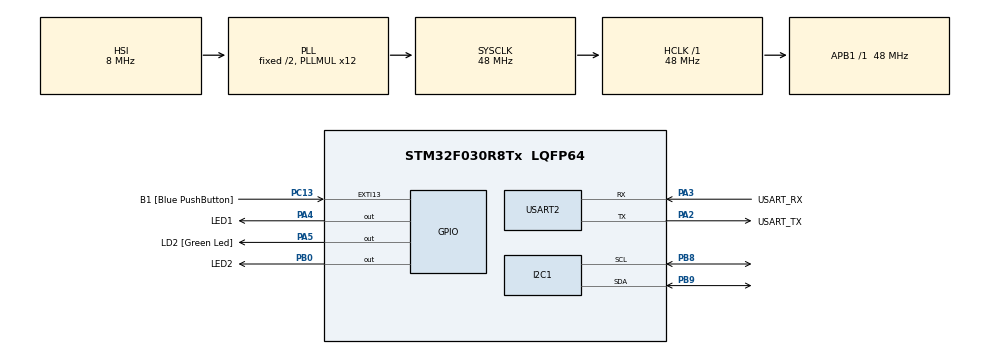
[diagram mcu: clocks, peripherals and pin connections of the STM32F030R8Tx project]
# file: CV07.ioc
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FREERTOS.Queues01=xVisualQueue,16,uint16_t,0,Dynamic,NULL,NULL
FREERTOS.Tasks01=defaultTask,0,128,StartDefaultTask,Default,NULL,Dynamic,NULL,NULL;VisualTask,-3,128,StartVisualTask,Default,NULL,Dynamic,NULL,NULL;AcceleroTask,-3,128,StartAcceleroTask,Default,NULL,Dynamic,NULL,NULL
FREERTOS.configUSE_NEWLIB_REENTRANT=1
I2C1.Timing=0x00201D2B
Mcu.Family=STM32F0
Mcu.Name=STM32F030R8Tx
Mcu.Package=LQFP64
NVIC.TIM14_IRQn=true\:3\:0\:false\:false\:true\:false\:false\:true\:true
NVIC.TimeBase=TIM14_IRQn
NVIC.TimeBaseIP=TIM14
PA13.GPIO_Label=TMS
PA13.Mode=Serial_Wire
PA13.Signal=SYS_SWDIO
PA14.GPIO_Label=TCK
PA14.Mode=Serial_Wire
PA14.Signal=SYS_SWCLK
PA2.GPIO_Label=USART_TX
PA2.GPIO_Mode=GPIO_MODE_AF_PP
PA2.GPIO_PuPd=GPIO_NOPULL
PA2.GPIO_Speed=GPIO_SPEED_FREQ_LOW
PA2.Mode=Asynchronous
PA2.Signal=USART2_TX
PA3.GPIO_Label=USART_RX
PA3.GPIO_Mode=GPIO_MODE_AF_PP
PA3.GPIO_PuPd=GPIO_NOPULL
PA3.GPIO_Speed=GPIO_SPEED_FREQ_LOW
PA3.Mode=Asynchronous
PA3.Signal=USART2_RX
PA4.GPIO_Label=LED1
PA4.Signal=GPIO_Output
PA5.GPIO_Label=LD2 [Green Led]
PA5.GPIO_Mode=GPIO_MODE_OUTPUT_PP
PA5.GPIO_PuPd=GPIO_NOPULL
PA5.GPIO_Speed=GPIO_SPEED_FREQ_LOW
PA5.Signal=GPIO_Output
PB0.GPIO_Label=LED2
PB0.Signal=GPIO_Output
PB8.Mode=I2C
PB8.Signal=I2C1_SCL
PB9.Mode=I2C
PB9.Signal=I2C1_SDA
PC13.GPIO_Label=B1 [Blue PushButton]
PC13.GPIO_ModeDefaultEXTI=GPIO_MODE_IT_FALLING
PC13.Signal=GPXTI13
PC14-OSC32_IN.Mode=LSE-External-Oscillator
PC14-OSC32_IN.Signal=RCC_OSC32_IN
PC15-OSC32_OUT.Mode=LSE-External-Oscillator
PC15-OSC32_OUT.Signal=RCC_OSC32_OUT
PF0-OSC_IN.Mode=HSE-External-Clock-Source
PF0-OSC_IN.Signal=RCC_OSC_IN
PF1-OSC_OUT.Signal=RCC_OSC_OUT
ProjectManager.HeapSize=0x200
ProjectManager.StackSize=0x400
ProjectManager.TargetToolchain=STM32CubeIDE
RCC.AHBFreq_Value=48000000
RCC.APB1Freq_Value=48000000
RCC.APB1TimFreq_Value=48000000
RCC.HCLKFreq_Value=48000000
RCC.PLLMUL=RCC_PLL_MUL12
RCC.SYSCLKFreq_VALUE=48000000
RCC.SYSCLKSource=RCC_SYSCLKSOURCE_PLLCLK
USART2.VirtualMode-Asynchronous=VM_ASYNC
VP_FREERTOS_VS_CMSIS_V1.Mode=CMSIS_V1
VP_SYS_VS_tim14.Mode=TIM14
board=NUCLEO-F030R8

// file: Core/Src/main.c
/* USER CODE BEGIN Header */
/**
 ******************************************************************************
 * @file           : main.c
 * @brief          : Main program body
 ******************************************************************************
 * @attention
 *
 * Copyright (c) 2024 STMicroelectronics.
 * All rights reserved.
 *
 * This software is licensed under terms that can be found in the LICENSE file
 * in the root directory of this software component.
 * If no LICENSE file comes with this software, it is provided AS-IS.
 *
 ******************************************************************************
 */
/* USER CODE END Header */
#include "main.h"
#include "cmsis_os.h"

/* USER CODE BEGIN Includes */
#include "lis2dw12_reg.h"
#include <stdio.h>
#include <string.h>
/* USER CODE END Includes */

I2C_HandleTypeDef hi2c1;

UART_HandleTypeDef huart2;

osThreadId defaultTaskHandle;
osThreadId VisualTaskHandle;
osThreadId AcceleroTaskHandle;
osMessageQId xVisualQueueHandle;

void SystemClock_Config(void);
static void MX_GPIO_Init(void);
static void MX_USART2_UART_Init(void);
static void MX_I2C1_Init(void);
void StartDefaultTask(void const * argument);
void StartVisualTask(void const * argument);
void StartAcceleroTask(void const * argument);

/* USER CODE BEGIN 0 */
static int32_t platform_write(void *handle, uint8_t reg, uint8_t *bufp,
		uint16_t len)
{
	HAL_I2C_Mem_Write(handle, LIS2DW12_I2C_ADD_H, reg, I2C_MEMADD_SIZE_8BIT, bufp, len, 1000);
	return 0;
}
static int32_t platform_read(void *handle, uint8_t reg, uint8_t *bufp, uint16_t len)
{
	HAL_I2C_Mem_Read(handle, LIS2DW12_I2C_ADD_H, reg, I2C_MEMADD_SIZE_8BIT, bufp, len, 1000);
	return 0;
}

static stmdev_ctx_t lis2dw12 = {
		.write_reg = platform_write,
		.read_reg = platform_read,
		.handle = &hi2c1,
};

int _write(int file, char const *buf, int n)
{
	/* stdout redirection to UART2 */
	HAL_UART_Transmit(&huart2, (uint8_t*)(buf), n, HAL_MAX_DELAY);
	return n;
}
/* USER CODE END 0 */

int main(void)
{

	/* MCU Configuration--------------------------------------------------------*/

	/* Reset of all peripherals, Initializes the Flash interface and the Systick. */
	HAL_Init();

	/* Configure the system clock */
	SystemClock_Config();

	/* Initialize all configured peripherals */
	MX_GPIO_Init();
	MX_USART2_UART_Init();
	MX_I2C1_Init();

	/* Create the queue(s) */
	/* definition and creation of xVisualQueue */
	osMessageQDef(xVisualQueue, 16, uint16_t);
	xVisualQueueHandle = osMessageCreate(osMessageQ(xVisualQueue), NULL);

	/* Create the thread(s) */
	/* definition and creation of defaultTask */
	osThreadDef(defaultTask, StartDefaultTask, osPriorityNormal, 0, 128);
	defaultTaskHandle = osThreadCreate(osThread(defaultTask), NULL);

	/* definition and creation of VisualTask */
	osThreadDef(VisualTask, StartVisualTask, osPriorityIdle, 0, 128);
	VisualTaskHandle = osThreadCreate(osThread(VisualTask), NULL);

	/* definition and creation of AcceleroTask */
	osThreadDef(AcceleroTask, StartAcceleroTask, osPriorityIdle, 0, 128);
	AcceleroTaskHandle = osThreadCreate(osThread(AcceleroTask), NULL);

	/* Start scheduler */
	osKernelStart();

	/* We should never get here as control is now taken by the scheduler */

	/* Infinite loop */
	while (1)
	{

	}
}

void SystemClock_Config(void)
{
	RCC_OscInitTypeDef RCC_OscInitStruct = {0};
	RCC_ClkInitTypeDef RCC_ClkInitStruct = {0};
	RCC_PeriphCLKInitTypeDef PeriphClkInit = {0};

	/** Initializes the RCC Oscillators according to the specified parameters
	 * in the RCC_OscInitTypeDef structure.
	 */
	RCC_OscInitStruct.OscillatorType = RCC_OSCILLATORTYPE_HSI;
	RCC_OscInitStruct.HSIState = RCC_HSI_ON;
	RCC_OscInitStruct.HSICalibrationValue = RCC_HSICALIBRATION_DEFAULT;
	RCC_OscInitStruct.PLL.PLLState = RCC_PLL_ON;
	RCC_OscInitStruct.PLL.PLLSource = RCC_PLLSOURCE_HSI;
	RCC_OscInitStruct.PLL.PLLMUL = RCC_PLL_MUL12;
	RCC_OscInitStruct.PLL.PREDIV = RCC_PREDIV_DIV1;
	if (HAL_RCC_OscConfig(&RCC_OscInitStruct) != HAL_OK)
	{
		Error_Handler();
	}

	/** Initializes the CPU, AHB and APB buses clocks
	 */
	RCC_ClkInitStruct.ClockType = RCC_CLOCKTYPE_HCLK|RCC_CLOCKTYPE_SYSCLK
			|RCC_CLOCKTYPE_PCLK1;
	RCC_ClkInitStruct.SYSCLKSource = RCC_SYSCLKSOURCE_PLLCLK;
	RCC_ClkInitStruct.AHBCLKDivider = RCC_SYSCLK_DIV1;
	RCC_ClkInitStruct.APB1CLKDivider = RCC_HCLK_DIV1;

	if (HAL_RCC_ClockConfig(&RCC_ClkInitStruct, FLASH_LATENCY_1) != HAL_OK)
	{
		Error_Handler();
	}
	PeriphClkInit.PeriphClockSelection = RCC_PERIPHCLK_I2C1;
	PeriphClkInit.I2c1ClockSelection = RCC_I2C1CLKSOURCE_HSI;
	if (HAL_RCCEx_PeriphCLKConfig(&PeriphClkInit) != HAL_OK)
	{
		Error_Handler();
	}
}

static void MX_I2C1_Init(void)
{

	hi2c1.Instance = I2C1;
	hi2c1.Init.Timing = 0x00201D2B;
	hi2c1.Init.OwnAddress1 = 0;
	hi2c1.Init.AddressingMode = I2C_ADDRESSINGMODE_7BIT;
	hi2c1.Init.DualAddressMode = I2C_DUALADDRESS_DISABLE;
	hi2c1.Init.OwnAddress2 = 0;
	hi2c1.Init.OwnAddress2Masks = I2C_OA2_NOMASK;
	hi2c1.Init.GeneralCallMode = I2C_GENERALCALL_DISABLE;
	hi2c1.Init.NoStretchMode = I2C_NOSTRETCH_DISABLE;
	if (HAL_I2C_Init(&hi2c1) != HAL_OK)
	{
		Error_Handler();
	}

	/** Configure Analogue filter
	 */
	if (HAL_I2CEx_ConfigAnalogFilter(&hi2c1, I2C_ANALOGFILTER_ENABLE) != HAL_OK)
	{
		Error_Handler();
	}

	/** Configure Digital filter
	 */
	if (HAL_I2CEx_ConfigDigitalFilter(&hi2c1, 0) != HAL_OK)
	{
		Error_Handler();
	}

}

static void MX_USART2_UART_Init(void)
{

	huart2.Instance = USART2;
	huart2.Init.BaudRate = 38400;
	huart2.Init.WordLength = UART_WORDLENGTH_8B;
	huart2.Init.StopBits = UART_STOPBITS_1;
	huart2.Init.Parity = UART_PARITY_NONE;
	huart2.Init.Mode = UART_MODE_TX_RX;
	huart2.Init.HwFlowCtl = UART_HWCONTROL_NONE;
	huart2.Init.OverSampling = UART_OVERSAMPLING_16;
	huart2.Init.OneBitSampling = UART_ONE_BIT_SAMPLE_DISABLE;
	huart2.AdvancedInit.AdvFeatureInit = UART_ADVFEATURE_NO_INIT;
	if (HAL_UART_Init(&huart2) != HAL_OK)
	{
		Error_Handler();
	}

}

static void MX_GPIO_Init(void)
{
	GPIO_InitTypeDef GPIO_InitStruct = {0};

	/* GPIO Ports Clock Enable */
	__HAL_RCC_GPIOC_CLK_ENABLE();
	__HAL_RCC_GPIOF_CLK_ENABLE();
	__HAL_RCC_GPIOA_CLK_ENABLE();
	__HAL_RCC_GPIOB_CLK_ENABLE();

	/*Configure GPIO pin Output Level */
	HAL_GPIO_WritePin(GPIOA, LED1_Pin|LD2_Pin, GPIO_PIN_RESET);

	/*Configure GPIO pin Output Level */
	HAL_GPIO_WritePin(LED2_GPIO_Port, LED2_Pin, GPIO_PIN_RESET);

	/*Configure GPIO pin : B1_Pin */
	GPIO_InitStruct.Pin = B1_Pin;
	GPIO_InitStruct.Mode = GPIO_MODE_IT_FALLING;
	GPIO_InitStruct.Pull = GPIO_NOPULL;
	HAL_GPIO_Init(B1_GPIO_Port, &GPIO_InitStruct);

	/*Configure GPIO pins : LED1_Pin LD2_Pin */
	GPIO_InitStruct.Pin = LED1_Pin|LD2_Pin;
	GPIO_InitStruct.Mode = GPIO_MODE_OUTPUT_PP;
	GPIO_InitStruct.Pull = GPIO_NOPULL;
	GPIO_InitStruct.Speed = GPIO_SPEED_FREQ_LOW;
	HAL_GPIO_Init(GPIOA, &GPIO_InitStruct);

	/*Configure GPIO pin : LED2_Pin */
	GPIO_InitStruct.Pin = LED2_Pin;
	GPIO_InitStruct.Mode = GPIO_MODE_OUTPUT_PP;
	GPIO_InitStruct.Pull = GPIO_NOPULL;
	GPIO_InitStruct.Speed = GPIO_SPEED_FREQ_LOW;
	HAL_GPIO_Init(LED2_GPIO_Port, &GPIO_InitStruct);

}

/* USER CODE BEGIN 4 */
int16_t raw_acceleration_global[3];
/* USER CODE END 4 */

void StartDefaultTask(void const * argument)
{
	/* USER CODE BEGIN 5 */

	/* Infinite loop */
	for(;;)
	{
		osDelay(10);
	}

	/* USER CODE END 5 */
}

void StartVisualTask(void const * argument)
{
	/* USER CODE BEGIN StartVisualTask */
	int16_t msg;
	/* Infinite loop */
	for(;;)
	{
		if (xQueueReceive(xVisualQueueHandle, &msg, portMAX_DELAY))
		{
			if(msg < -1000)
			{
				HAL_GPIO_WritePin(LED1_GPIO_Port, LED1_Pin, 1);
				HAL_GPIO_WritePin(LED2_GPIO_Port, LED2_Pin, 0);
			}
			else if(msg > 1000)
			{
				HAL_GPIO_WritePin(LED1_GPIO_Port, LED1_Pin, 0);
				HAL_GPIO_WritePin(LED2_GPIO_Port, LED2_Pin, 1);
			}
			else
			{
				HAL_GPIO_WritePin(LED1_GPIO_Port, LED1_Pin, 0);
				HAL_GPIO_WritePin(LED2_GPIO_Port, LED2_Pin, 0);
			}
		}
		vTaskDelay(10);
	}
	/* USER CODE END StartVisualTask */
}

void StartAcceleroTask(void const * argument)
{
	/* USER CODE BEGIN StartAcceleroTask */
	uint8_t whoamI = 0;
	lis2dw12_device_id_get(&lis2dw12, &whoamI);
	printf("LIS2DW12_ID %s\n", (whoamI == LIS2DW12_ID) ? "OK" : "FAIL");

	lis2dw12_full_scale_set(&lis2dw12, LIS2DW12_2g);
	lis2dw12_power_mode_set(&lis2dw12, LIS2DW12_CONT_LOW_PWR_LOW_NOISE_2);
	lis2dw12_block_data_update_set(&lis2dw12, PROPERTY_ENABLE);
	// enable continuous FIFO
	lis2dw12_fifo_mode_set(&lis2dw12, LIS2DW12_STREAM_MODE);
	// enable part from power-down
	lis2dw12_data_rate_set(&lis2dw12, LIS2DW12_XL_ODR_25Hz);

	/* Infinite loop */
	uint8_t samples;
	int16_t raw_acceleration[3];
	static uint8_t cnt;

	for(;;)
	{

		lis2dw12_fifo_data_level_get(&lis2dw12, &samples);
		for (uint8_t i = 0; i < samples; i++) {

			lis2dw12_acceleration_raw_get(&lis2dw12, raw_acceleration);
			xQueueSend(xVisualQueueHandle, &raw_acceleration[0], 0);
			// Send only the X-axis data to the VisualQueue
		}
		vTaskDelay(50);
		if(++cnt > 20)
		{
			printf("X=%d Y=%d Z=%d\n", raw_acceleration[0], raw_acceleration[1], raw_acceleration[2]);
			cnt = 0;
		}

	}
	/* USER CODE END StartAcceleroTask */
}

void HAL_TIM_PeriodElapsedCallback(TIM_HandleTypeDef *htim)
{
	if (htim->Instance == TIM14) {
		HAL_IncTick();
	}
}

void Error_Handler(void)
{
	__disable_irq();
	while (1)
	{
	}
}
